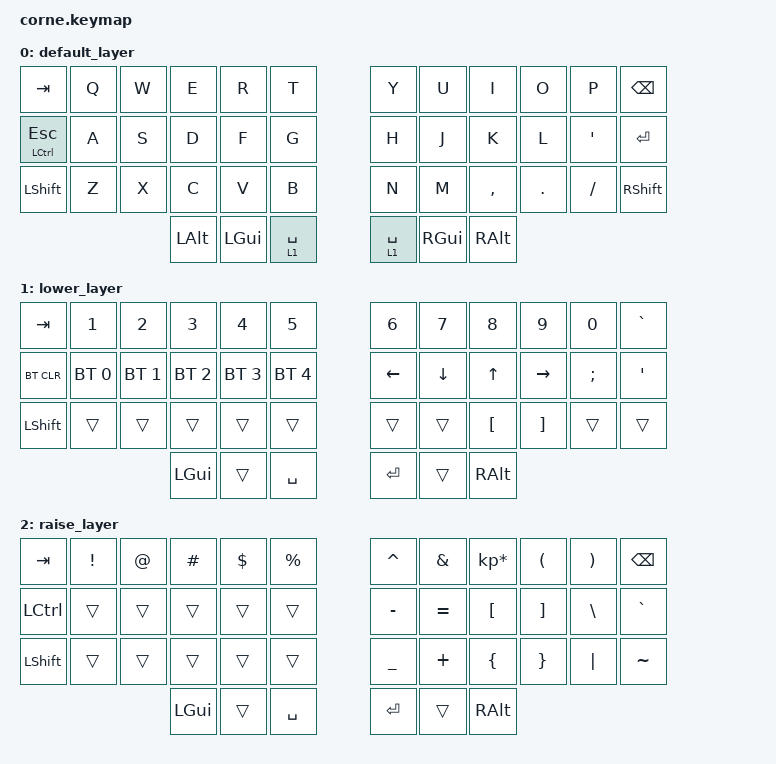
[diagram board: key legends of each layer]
/*
 * Copyright (c) 2020 The ZMK Contributors
 *
 * SPDX-License-Identifier: MIT
 */

#include <behaviors.dtsi>
#include <dt-bindings/zmk/keys.h>
#include <dt-bindings/zmk/bt.h>

/ {
        keymap {
                compatible = "zmk,keymap";

                default_layer {
// -----------------------------------------------------------------------------------------
// |  TAB |  Q  |  W  |  E  |  R  |  T  |   |  Y  |  U   |  I  |  O  |  P  | BKSP |
// | CTRL |  A  |  S  |  D  |  F  |  G  |   |  H  |  J   |  K  |  L  |  '  |  RET |
// | SHFT |  Z  |  X  |  C  |  V  |  B  |   |  N  |  M   |  ,  |  .  |  /  | SHIFT  |
//                    | GUI | LWR | SPC |   | ENT | RSE  | ALT |
                        bindings = <
   &kp TAB   &kp Q &kp W &kp E &kp R &kp T   &kp Y &kp U  &kp I     &kp O   &kp P    &kp BSPC
   &mt LCTRL ESC &kp A &kp S &kp D &kp F &kp G   &kp H &kp J  &kp K     &kp L   &kp SQT &kp RET
   &kp LSHFT &kp Z &kp X &kp C &kp V &kp B   &kp N &kp M  &kp COMMA &kp DOT &kp FSLH &kp RSHIFT
                  &kp LALT &kp LGUI &lt 1 SPACE   &lt 1 SPACE &kp RGUI &kp RALT
                        >;
                };
                lower_layer {
// -----------------------------------------------------------------------------------------
// |  TAB |  1  |  2  |  3  |  4  |  5  |   |  6  |  7  |  8  |  9  |  0  |   `  |
// | BTCLR| BT1 | BT2 | BT3 | BT4 | BT5 |   | LFT | DWN |  UP | RGT |   ;  |   '  |
// | SHFT |     |     |     |     |     |   |     |     |     |     |     |      |
//                    | GUI |     | SPC |   | ENT |     | ALT |
                        bindings = <
   &kp TAB    &kp N1       &kp N2       &kp N3       &kp N4       &kp N5         &kp N6   &kp N7   &kp N8 &kp N9    &kp N0 &kp GRAVE
   &bt BT_CLR &bt BT_SEL 0 &bt BT_SEL 1 &bt BT_SEL 2 &bt BT_SEL 3 &bt BT_SEL 4   &kp LEFT &kp DOWN &kp UP &kp RIGHT &kp SEMI &kp SQT
   &kp LSHFT  &trans       &trans       &trans       &trans       &trans         &trans   &trans   &kp LBKT &kp RBKT    &trans &trans
                          	        &kp LGUI     &trans       &kp SPACE      &kp RET  &trans   &kp RALT
                        >;
                };

                raise_layer {
// -----------------------------------------------------------------------------------------
// |  TAB |  !  |  @  |  #  |  $  |  %  |   |  ^  |  &  |  *  |  (  |  )  | BKSP |
// | CTRL |     |     |     |     |     |   |  -  |  =  |  [  |  ]  |  \  |  `   |
// | SHFT |     |     |     |     |     |   |  _  |  +  |  {  |  }  | "|" |  ~   |
//                    | GUI |     | SPC |   | ENT |     | ALT |
                        bindings = <
   &kp  TAB  &kp EXCL &kp AT &kp HASH &kp DLLR &kp PRCNT   &kp CARET &kp AMPS  &kp KP_MULTIPLY &kp LPAR &kp RPAR &kp BSPC
   &kp LCTRL &trans   &trans &trans   &trans   &trans      &kp MINUS &kp EQUAL &kp LBKT        &kp RBKT &kp BSLH &kp GRAVE
   &kp LSHFT &trans   &trans &trans   &trans   &trans      &kp UNDER &kp PLUS  &kp LBRC        &kp RBRC &kp PIPE &kp TILDE
                    	     &kp LGUI &trans   &kp SPACE   &kp RET   &trans    &kp RALT
                        >;
                };
        };
};
